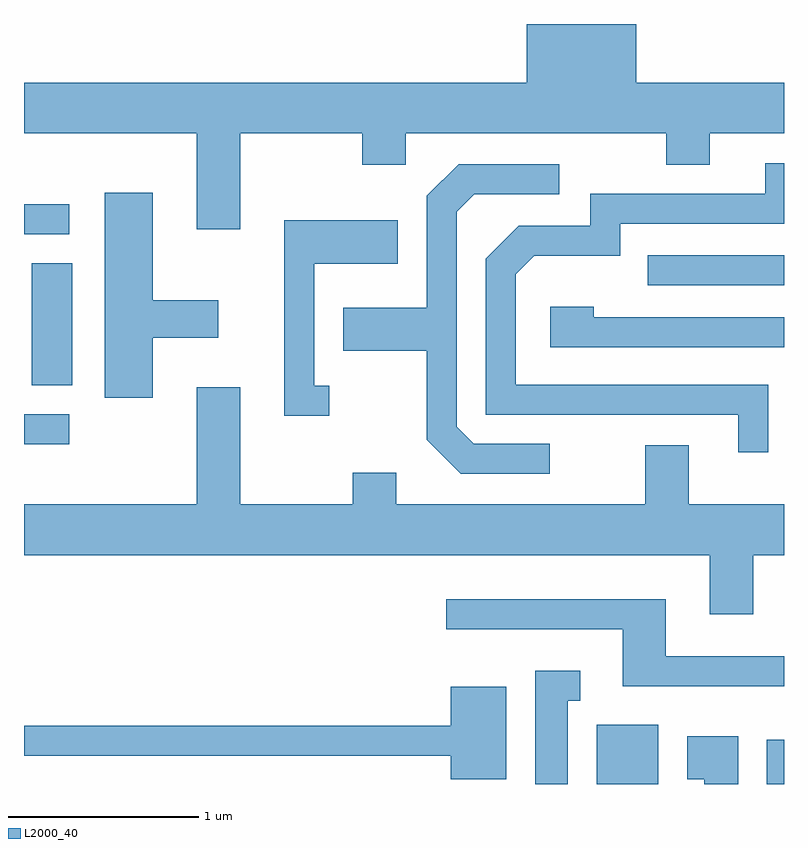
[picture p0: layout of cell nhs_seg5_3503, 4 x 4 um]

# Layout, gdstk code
import gdstk
lib = gdstk.Library(unit=1e-6, precision=1e-09)
def R(c, l, rs):  # rectangles x0, y0, x1, y1
    for r in rs: c.add(gdstk.rectangle(r[:2], r[2:], *l))
def P(c, l, *ps):  # polygons
    for p in ps: c.add(gdstk.Polygon(p, *l))
L2000_40 = (2000, 40)

nhs_seg5_3503 = lib.new_cell('nhs_seg5_3503')
R(nhs_seg5_3503, L2000_40, [(292.626,1420.072,292.949,1420.384), (293.521,1420.072,293.611,1420.304), (289.611,1421.861,289.848,1422.019), (289.651,1422.171,289.864,1422.814), (292.893,1422.696,293.611,1422.854), (289.611,1422.966,289.848,1423.124)])
P(nhs_seg5_3503, L2000_40, [(290.749,1423.496),(291.391,1423.496),(291.391,1423.331),(291.619,1423.331),(291.619,1423.496),(292.991,1423.496),(292.991,1423.331),(293.219,1423.331),(293.219,1423.496),(293.611,1423.496),(293.611,1423.764),(292.834,1423.764),(292.834,1424.072),(292.256,1424.072),(292.256,1423.764),(289.611,1423.764),(289.611,1423.496),(290.521,1423.496),(290.521,1422.991),(290.749,1422.991)],
  [(293.529,1422.174),(292.199,1422.174),(292.199,1422.754),(292.297,1422.851),(292.749,1422.851),(292.749,1423.021),(293.611,1423.021),(293.611,1423.339),(293.511,1423.339),(293.511,1423.179),(292.591,1423.179),(292.591,1423.009),(292.214,1423.009),(292.041,1422.837),(292.041,1422.016),(293.371,1422.016),(293.371,1421.818),(293.529,1421.818)],
  [(292.378,1421.864),(291.977,1421.864),(291.889,1421.952),(291.889,1423.084),(291.982,1423.176),(292.428,1423.176),(292.428,1423.334),(291.899,1423.334),(291.731,1423.167),(291.731,1422.579),(291.291,1422.579),(291.291,1422.351),(291.731,1422.351),(291.731,1421.884),(291.909,1421.706),(292.378,1421.706)],
  [(290.289,1422.421),(290.634,1422.421),(290.634,1422.619),(290.289,1422.619),(290.289,1423.184),(290.036,1423.184),(290.036,1422.106),(290.289,1422.106)],
  [(291.218,1422.169),(291.139,1422.169),(291.139,1422.811),(291.579,1422.811),(291.579,1423.039),(290.981,1423.039),(290.981,1422.011),(291.218,1422.011)],
  [(293.611,1422.529),(292.609,1422.529),(292.609,1422.584),(292.381,1422.584),(292.381,1422.371),(293.611,1422.371)],
  [(293.449,1421.276),(293.611,1421.276),(293.611,1421.544),(293.109,1421.544),(293.109,1421.854),(292.881,1421.854),(292.881,1421.544),(291.569,1421.544),(291.569,1421.709),(291.341,1421.709),(291.341,1421.544),(290.749,1421.544),(290.749,1422.159),(290.521,1422.159),(290.521,1421.544),(289.611,1421.544),(289.611,1421.276),(293.221,1421.276),(293.221,1420.966),(293.449,1420.966)],
  [(293.611,1420.744),(292.989,1420.744),(292.989,1421.044),(291.833,1421.044),(291.833,1420.886),(292.761,1420.886),(292.761,1420.586),(293.611,1420.586)],
  [(292.474,1420.511),(292.538,1420.511),(292.538,1420.669),(292.301,1420.669),(292.301,1420.072),(292.474,1420.072)],
  [(292.149,1420.584),(291.856,1420.584),(291.856,1420.379),(289.611,1420.379),(289.611,1420.221),(291.856,1420.221),(291.856,1420.096),(292.149,1420.096)],
  [(293.369,1420.324),(293.101,1420.324),(293.101,1420.096),(293.191,1420.096),(293.191,1420.072),(293.369,1420.072)])

lib.write_gds('nhs_seg5_3503.gds')
